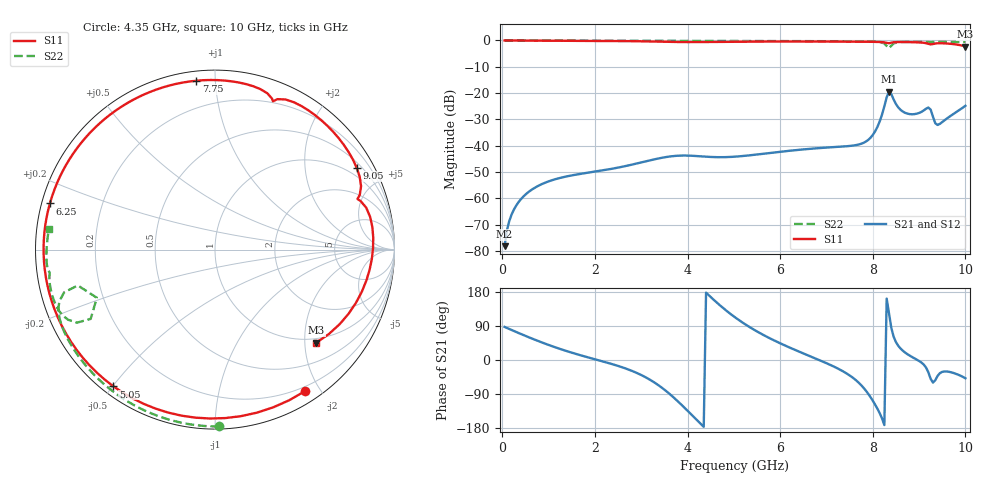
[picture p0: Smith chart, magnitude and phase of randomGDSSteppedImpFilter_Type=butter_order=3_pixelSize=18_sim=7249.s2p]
! freq	dB(S11)	phase(S11)	dB(S12)	phase(S12)
!  dB(S21)	phase(S21)	dB(S22)	phase(S22)
!S-par simulation data
#  GHz  S  DB  R 50
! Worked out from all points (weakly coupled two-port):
!   200 points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, 50 MHz to 10 GHz, reference 50 ohm
!   highest |S21| = -19.48 dB at 8.35 GHz (marker M1); lowest = -78.2 dB at 50 MHz (marker M2)
!   lowest |S11| = -2.3 dB at 10 GHz (marker M3), VSWR 7.56, Z = 44.9 - j113 ohm
!   |S11| at or under -10 dB: nowhere
!   |S22| runs from -3.0 to 0.0 dB; largest |S21 - S12| = 0
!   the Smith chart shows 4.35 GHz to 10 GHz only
!   S11 on the Smith chart (normalised r, x): 4.35 GHz: 0.15, -1.81; 5.05 GHz: 0.03, -0.50; 6.25 GHz: 0.02, +0.14; 7.75 GHz: 0.05, +0.89; 9.05 GHz: 0.67, +3.62; 10 GHz: 0.90, -2.26
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0.05  -0.00 -4.3  -78.17 87.2  -78.17 87.2  -0.00 -1.1
0.2  -0.02 -17.1  -66.19 79.2  -66.19 79.2  -0.01 -4.4
0.5  -0.05 -42.2  -58.56 63.6  -58.56 63.6  -0.01 -10.9
1.1  -0.11 -89.1  -52.96 35.4  -52.96 35.4  -0.03 -23.8
1.75  -0.15 -135.0  -50.52 10.4  -50.52 10.4  -0.05 -37.5
2.65  -0.24 159.6  -47.77 -21.8  -47.77 -21.8  -0.07 -55.9
3  -0.32 127.9  -46.35 -39.6  -46.35 -39.6  -0.08 -62.9
3.4  -0.46 81.7  -44.74 -69.0  -44.74 -69.0  -0.09 -70.7
3.9  -0.62 7.6  -43.74 -121.8  -43.74 -121.8  -0.11 -80.3
4.35  -0.59 -57.5  -44.11 -176.3  -44.11 -176.3  -0.13 -88.7
5.05  -0.45 -126.6  -44.13 110.5  -44.13 110.5  -0.16 -101.4
5.6  -0.41 -162.3  -43.14 68.5  -43.14 68.5  -0.18 -111.2
6.25  -0.40 164.4  -41.83 30.4  -41.83 30.4  -0.22 -122.6
6.7  -0.41 143.7  -41.10 7.2  -41.10 7.2  -0.25 -130.4
7.75  -0.48 96.3  -39.26 -66.4  -39.26 -66.4  -0.37 -149.5
8.05  -0.53 81.9  -34.56 -117.6  -34.56 -117.6  -0.48 -156.4
8.35  -1.04 68.6  -19.48 122.8  -19.48 122.8  -2.96 -157.8
8.65  -0.59 53.4  -27.04 24.4  -27.04 24.4  -0.57 -159.7
9.05  -0.80 30.0  -27.15 -6.7  -27.15 -6.7  -0.54 -168.9
9.2  -1.29 20.7  -25.49 -32.4  -25.49 -32.4  -0.62 -171.6
9.4  -1.08 11.9  -32.10 -41.9  -32.10 -41.9  -0.53 -175.1
10  -2.31 -42.6  -24.84 -48.3  -24.84 -48.3  -0.61 173.0
